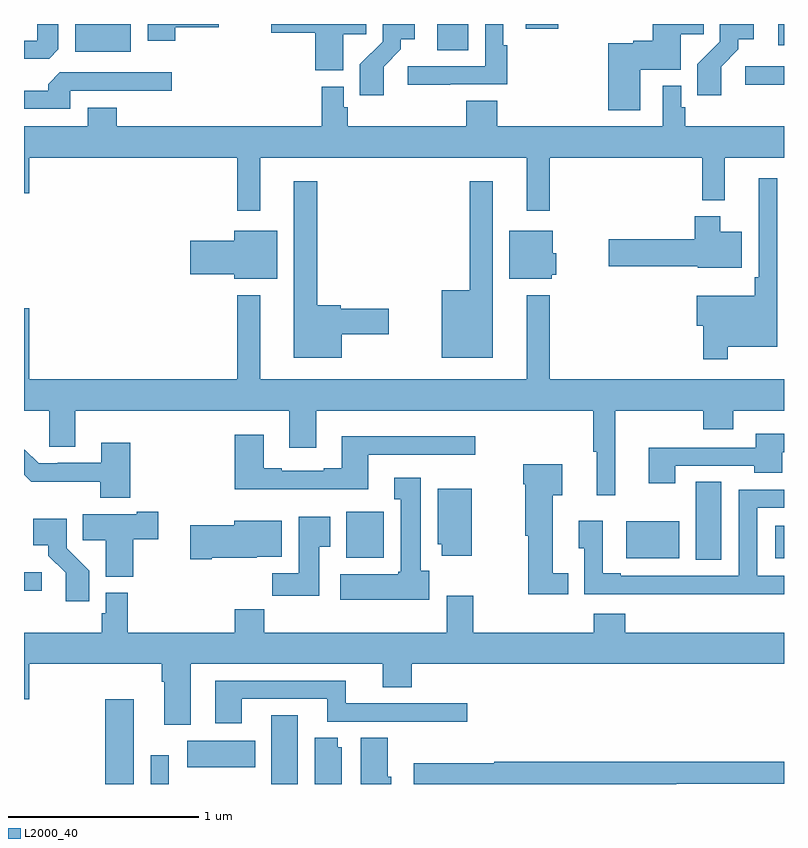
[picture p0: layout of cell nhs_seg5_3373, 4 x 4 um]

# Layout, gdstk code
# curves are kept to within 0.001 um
import gdstk
lib = gdstk.Library(unit=1e-6, precision=1e-09)
def R(c, l, rs):  # rectangles x0, y0, x1, y1
    for r in rs: c.add(gdstk.rectangle(r[:2], r[2:], *l))
def P(c, l, *ps):  # polygons
    for p in ps: c.add(gdstk.Polygon(p, *l))
L2000_40 = (2000, 40)

nhs_seg5_3373 = lib.new_cell('nhs_seg5_3373')
R(nhs_seg5_3373, L2000_40, [(309.428,850.799,309.577,851.245), (309.666,850.799,309.762,850.951), (310.301,850.799,310.441,851.162), (309.858,850.886,310.216,851.026), (309,851.815,309.094,851.913), (312.536,851.98,312.67,852.389), (312.17,851.987,312.448,852.181), (312.953,851.987,313,852.157), (310.697,851.99,310.894,852.232), (312.795,854.479,313,854.577), (309.269,854.654,309.562,854.799), (311.174,854.662,311.338,854.799), (312.971,854.688,313,854.799), (311.642,854.775,311.813,854.799)])
P(nhs_seg5_3373, L2000_40, [(309.797,854.783),(310.024,854.783),(310.024,854.799),(309.65,854.799),(309.65,854.712),(309.797,854.712)],
  [(310.681,854.746),(310.802,854.746),(310.802,854.799),(310.302,854.799),(310.302,854.752),(310.532,854.752),(310.532,854.555),(310.681,854.555)],
  [(310.894,854.575),(310.984,854.665),(310.984,854.72),(311.056,854.72),(311.056,854.799),(310.887,854.799),(310.887,854.705),(310.768,854.586),(310.768,854.424),(310.894,854.424)],
  [(312.244,854.558),(312.457,854.558),(312.457,854.746),(312.578,854.746),(312.578,854.799),(312.308,854.799),(312.308,854.711),(312.207,854.711),(312.207,854.698),(312.074,854.698),(312.074,854.346),(312.244,854.346)],
  [(312.67,854.575),(312.76,854.665),(312.76,854.72),(312.841,854.72),(312.841,854.799),(312.663,854.799),(312.663,854.705),(312.544,854.586),(312.544,854.424),(312.67,854.424)],
  [(309.181,854.665),(309.181,854.799),(309.069,854.799),(309.069,854.712),(309,854.712),(309,854.616),(309.132,854.616)],
  [(311.243,854.481),(311.543,854.481),(311.543,854.687),(311.523,854.687),(311.523,854.799),(311.427,854.799),(311.427,854.577),(311.019,854.577),(311.019,854.479),(311.243,854.479)],
  [(309.243,854.448),(309.778,854.448),(309.778,854.544),(309.189,854.544),(309.128,854.482),(309.128,854.448),(309,854.448),(309,854.352),(309.243,854.352)],
  [(310.243,854.096),(311.645,854.096),(311.645,853.815),(311.767,853.815),(311.767,854.096),(312.571,854.096),(312.571,853.871),(312.689,853.871),(312.689,854.096),(313,854.096),(313,854.26),(312.479,854.26),(312.479,854.361),(312.459,854.361),(312.459,854.473),(312.363,854.473),(312.363,854.26),(311.492,854.26),(311.492,854.396),(311.327,854.396),(311.327,854.26),(310.703,854.26),(310.703,854.361),(310.683,854.361),(310.683,854.47),(310.567,854.47),(310.567,854.26),(309.488,854.26),(309.488,854.359),(309.335,854.359),(309.335,854.26),(309,854.26),(309,853.908),(309.028,853.908),(309.028,854.096),(310.122,854.096),(310.122,853.815),(310.243,853.815)],
  [(312.703,853.1),(312.964,853.1),(312.964,853.987),(312.867,853.987),(312.867,853.465),(312.847,853.465),(312.847,853.369),(312.54,853.369),(312.54,853.211),(312.574,853.211),(312.574,853.035),(312.703,853.035)],
  [(311.467,853.972),(311.346,853.972),(311.346,853.399),(311.198,853.399),(311.198,853.043),(311.467,853.043)],
  [(310.672,853.166),(310.921,853.166),(310.921,853.301),(310.668,853.301),(310.668,853.319),(310.543,853.319),(310.543,853.972),(310.421,853.972),(310.421,853.043),(310.672,853.043)],
  [(312.778,853.705),(312.664,853.705),(312.664,853.786),(312.53,853.786),(312.53,853.665),(312.078,853.665),(312.078,853.523),(312.546,853.523),(312.546,853.517),(312.778,853.517)],
  [(310.333,853.711),(310.106,853.711),(310.106,853.659),(309.876,853.659),(309.876,853.481),(310.106,853.481),(310.106,853.457),(310.333,853.457)],
  [(311.778,853.479),(311.8,853.479),(311.8,853.593),(311.782,853.593),(311.782,853.711),(311.555,853.711),(311.555,853.457),(311.778,853.457)],
  [(312.112,852.764),(312.574,852.764),(312.574,852.665),(312.734,852.665),(312.734,852.764),(313,852.764),(313,852.928),(311.767,852.928),(311.767,853.372),(311.645,853.372),(311.645,852.928),(310.243,852.928),(310.243,853.372),(310.122,853.372),(310.122,852.928),(309.028,852.928),(309.028,853.303),(309,853.303),(309,852.764),(309.132,852.764),(309.132,852.574),(309.271,852.574),(309.271,852.764),(310.397,852.764),(310.397,852.57),(310.537,852.57),(310.537,852.764),(311.995,852.764),(311.995,852.549),(312.014,852.549),(312.014,852.318),(312.112,852.318)],
  [(312.427,852.474),(312.844,852.474),(312.844,852.437),(312.991,852.437),(312.991,852.546),(313,852.546),(313,852.642),(312.851,852.642),(312.851,852.57),(312.287,852.57),(312.287,852.381),(312.427,852.381)],
  [(310.813,852.531),(311.374,852.531),(311.374,852.628),(310.673,852.628),(310.673,852.46),(310.577,852.46),(310.577,852.447),(310.357,852.447),(310.357,852.46),(310.261,852.46),(310.261,852.637),(310.109,852.637),(310.109,852.35),(310.813,852.35)],
  [(309.559,852.595),(309.407,852.595),(309.407,852.489),(309.178,852.489),(309.178,852.486),(309.078,852.486),(309.005,852.559),(309,852.559),(309,852.426),(309.037,852.389),(309.4,852.39),(309.4,852.305),(309.559,852.305)],
  [(311.864,851.908),(311.782,851.908),(311.782,852.319),(311.833,852.319),(311.833,852.481),(311.627,852.481),(311.627,852.377),(311.639,852.377),(311.639,852.105),(311.653,852.105),(311.653,851.798),(311.864,851.798)],
  [(311.134,851.922),(311.089,851.922),(311.089,852.412),(310.949,852.412),(310.949,852.299),(310.982,852.299),(310.982,851.916),(310.969,851.916),(310.969,851.902),(310.665,851.902),(310.665,851.768),(311.134,851.768)],
  [(311.356,852.352),(311.177,852.352),(311.177,852.06),(311.198,852.06),(311.198,852),(311.356,852)],
  [(313,851.895),(312.858,851.895),(312.858,852.252),(313,852.252),(313,852.348),(312.762,852.348),(312.762,851.895),(312.142,851.895),(312.142,851.908),(312.045,851.908),(312.045,852.184),(311.921,852.184),(311.921,852.039),(311.949,852.039),(311.949,851.799),(312.247,851.799),(312.247,851.798),(313,851.798)],
  [(309.576,852.086),(309.706,852.086),(309.706,852.232),(309.593,852.232),(309.593,852.22),(309.31,852.22),(309.31,852.082),(309.431,852.082),(309.431,851.891),(309.576,851.891)],
  [(310.555,852.049),(310.612,852.049),(310.612,852.205),(310.445,852.205),(310.445,851.908),(310.306,851.908),(310.306,851.79),(310.555,851.79)],
  [(309.344,851.922),(309.225,852.041),(309.225,852.196),(309.048,852.196),(309.048,852.056),(309.128,852.056),(309.128,852.001),(309.219,851.911),(309.219,851.76),(309.344,851.76)],
  [(309.988,851.99),(310.224,851.99),(310.224,851.996),(310.357,851.996),(310.357,852.184),(310.106,852.184),(310.106,852.161),(309.876,852.161),(309.876,851.983),(309.988,851.983)],
  [(309.877,851.432),(310.889,851.432),(310.889,851.308),(311.042,851.308),(311.042,851.432),(313,851.432),(313,851.596),(312.164,851.596),(312.164,851.695),(311.999,851.695),(311.999,851.596),(311.365,851.596),(311.365,851.791),(311.225,851.791),(311.225,851.596),(310.265,851.596),(310.265,851.72),(310.109,851.72),(310.109,851.596),(309.545,851.596),(309.545,851.806),(309.429,851.806),(309.429,851.697),(309.409,851.697),(309.409,851.596),(309,851.596),(309,851.244),(309.028,851.244),(309.028,851.432),(309.725,851.432),(309.725,851.336),(309.737,851.336),(309.737,851.112),(309.877,851.112)],
  [(310.147,851.247),(310.595,851.247),(310.595,851.127),(311.119,851.127),(311.119,851.126),(311.332,851.126),(311.332,851.223),(310.694,851.223),(310.694,851.343),(310.007,851.343),(310.007,851.118),(310.147,851.118)],
  [(310.672,850.992),(310.651,850.992),(310.651,851.042),(310.529,851.042),(310.529,850.799),(310.672,850.799)],
  [(310.933,850.836),(310.915,850.836),(310.915,851.042),(310.772,851.042),(310.772,850.799),(310.933,850.799)],
  [(312.434,850.8),(313,850.8),(313,850.916),(311.474,850.916),(311.474,850.909),(311.051,850.909),(311.051,850.799),(312.434,850.799)])

lib.write_gds('nhs_seg5_3373.gds')
